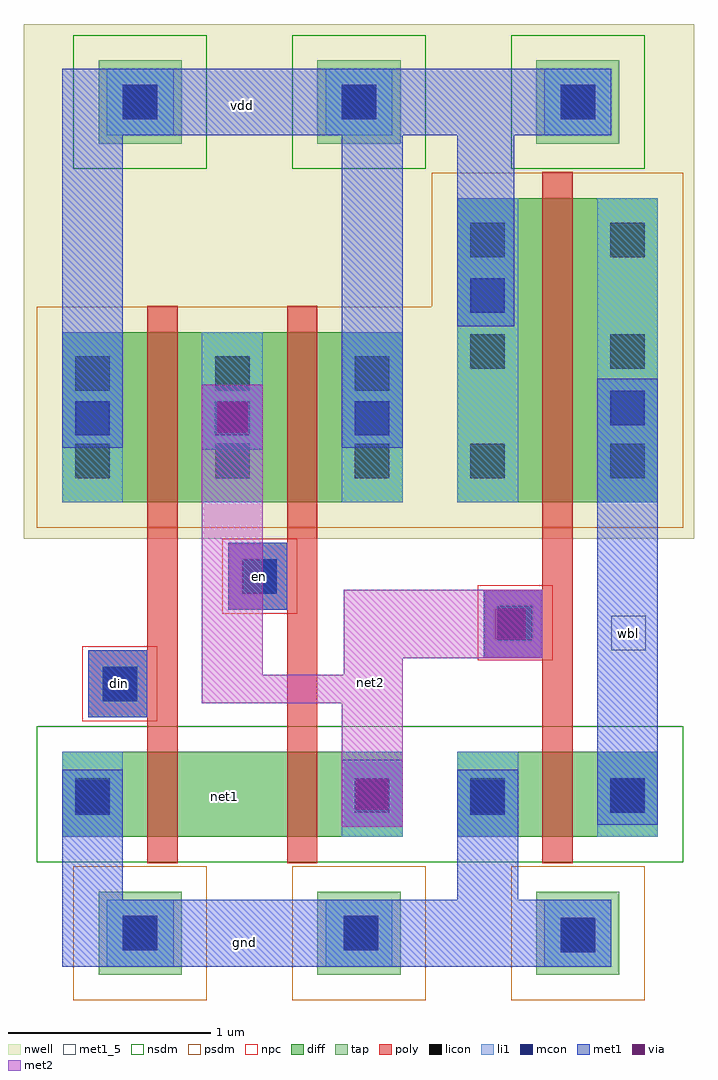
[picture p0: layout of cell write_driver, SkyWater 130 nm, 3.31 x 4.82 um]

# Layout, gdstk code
import gdstk
lib = gdstk.Library(unit=1e-6, precision=1e-09)
def R(c, l, rs):  # rectangles x0, y0, x1, y1
    for r in rs: c.add(gdstk.rectangle(r[:2], r[2:], *l))
def A(c, l, x, y, w, h, nx, ny, dx, dy):  # array of equal rectangles
    R(c, l, [(x+i*dx, y+j*dy, x+i*dx+w, y+j*dy+h) for i in range(nx) for j in range(ny)])
nwell = (64, 20)
diff = (65, 20)
tap = (65, 44)
poly = (66, 20)
licon = (66, 44)
li1 = (67, 20)
mcon = (67, 44)
met1_5 = (68, 5)
met1 = (68, 20)
via = (68, 44)
met2 = (69, 20)
nsdm = (93, 44)
psdm = (94, 20)
npc = (95, 20)

write_driver = lib.new_cell('write_driver')
R(write_driver, nwell, [(-0.23,-0.13,3.08,2.41)])
R(write_driver, diff, [(-0.04,-1.6,1.64,-1.18), (1.91,-1.6,2.9,-1.18), (-0.04,0.05,1.64,0.89), (1.91,0.05,2.9,1.55)])
A(write_driver, tap, 0.14, -2.28, 0.41, 0.41, 3, 2, 1.08, 4.1)
R(write_driver, poly, [(0.38,-1.73,0.53,-1.01), (1.07,-1.73,1.22,-0.48), (2.33,-1.73,2.48,-0.72), (0.09,-1.01,0.53,-0.68), (2.04,-0.72,2.48,-0.38), (0.38,-0.68,0.53,1.02), (0.78,-0.48,1.22,-0.15), (2.33,-0.38,2.48,1.68), (1.07,-0.15,1.22,1.02)])
A(write_driver, licon, 0.025, 0.17, 0.17, 0.17, 3, 2, 0.69, 0.43)
A(write_driver, licon, 0.26, 1.94, 0.17, 0.17, 3, 1, 1.08, 0)
R(write_driver, licon, [(2.42,-2.17,2.59,-2), (0.26,-2.16,0.43,-1.99), (1.35,-2.16,1.52,-1.99), (0.025,-1.48,0.195,-1.31), (1.405,-1.48,1.575,-1.31), (1.975,-1.48,2.145,-1.31), (2.665,-1.48,2.835,-1.31), (0.16,-0.93,0.33,-0.76), (2.11,-0.63,2.28,-0.46), (0.85,-0.4,1.02,-0.23), (1.975,0.17,2.145,0.34), (2.665,0.17,2.835,0.34), (1.975,0.71,2.145,0.88), (2.665,0.71,2.835,0.88), (1.975,1.26,2.145,1.43), (2.665,1.26,2.835,1.43)])
A(write_driver, li1, 0.18, -2.24, 0.33, 0.33, 3, 2, 1.08, 4.1)
A(write_driver, li1, -0.04, 0.05, 0.3, 0.84, 3, 1, 0.69, 0)
R(write_driver, li1, [(-0.04,-1.6,0.26,-1.18), (1.34,-1.6,1.64,-1.18), (1.91,-1.6,2.21,-1.18), (2.6,-1.6,2.9,-1.18), (0.09,-1.01,0.38,-0.68), (2.04,-0.72,2.33,-0.38), (0.78,-0.48,1.07,-0.15), (1.91,0.05,2.21,1.55), (2.6,0.05,2.9,1.55)])
A(write_driver, mcon, 0.025, 0.38, 0.17, 0.17, 3, 1, 0.69, 0)
A(write_driver, mcon, 0.26, 1.94, 0.17, 0.17, 3, 1, 1.08, 0)
R(write_driver, mcon, [(2.42,-2.17,2.59,-2), (0.26,-2.16,0.43,-1.99), (1.35,-2.16,1.52,-1.99), (0.025,-1.49,0.195,-1.32), (1.975,-1.49,2.145,-1.32), (1.405,-1.48,1.575,-1.31), (2.665,-1.48,2.835,-1.31), (0.16,-0.93,0.33,-0.76), (2.11,-0.63,2.28,-0.46), (0.85,-0.4,1.02,-0.23), (2.665,0.43,2.835,0.6), (1.975,0.985,2.145,1.155)])
R(write_driver, met1_5, [(0.16,-0.93,0.33,-0.76), (2.67,-0.68,2.84,-0.51), (0.85,-0.4,1.02,-0.23)])
R(write_driver, met1, [(-0.04,-2.24,2.67,-1.91), (-0.04,-1.91,0.26,-1.27), (1.91,-1.91,2.21,-1.27), (1.34,-1.55,1.64,-1.22), (2.6,-1.54,2.9,0.66), (0.09,-1.01,0.38,-0.68), (2.04,-0.72,2.33,-0.38), (0.78,-0.48,1.07,-0.15), (0.65,0.31,0.95,0.63), (-0.04,0.32,0.26,1.86), (1.34,0.32,1.64,1.86), (1.91,0.92,2.19,1.86), (-0.04,1.86,2.67,2.19)])
R(write_driver, via, [(1.415,-1.465,1.565,-1.315), (2.095,-0.625,2.245,-0.475), (0.725,0.395,0.875,0.545)])
R(write_driver, met2, [(1.34,-1.55,1.64,-0.94), (0.65,-0.94,1.64,-0.8), (0.65,-0.8,0.95,0.63), (1.35,-0.8,1.64,-0.72), (1.35,-0.72,2.33,-0.38)])
A(write_driver, nsdm, 0.015, 1.695, 0.66, 0.66, 3, 1, 1.08, 0)
R(write_driver, nsdm, [(-0.165,-1.725,3.025,-1.055)])
A(write_driver, psdm, 0.015, -2.405, 0.66, 0.66, 3, 1, 1.08, 0)
R(write_driver, psdm, [(-0.165,-0.075,3.025,1.015), (1.785,1.015,3.025,1.675)])
R(write_driver, npc, [(0.06,-1.03,0.43,-0.66), (2.01,-0.73,2.38,-0.36), (0.75,-0.5,1.12,-0.13)])
write_driver.add(gdstk.Label('vdd', (0.85,2.01), layer=68, texttype=16))
write_driver.add(gdstk.Label('net1', (0.76,-1.4), layer=65, texttype=20))
write_driver.add(gdstk.Label('net2', (1.48,-0.84), layer=69, texttype=16))
write_driver.add(gdstk.Label('gnd', (0.86,-2.12), layer=68, texttype=16))
write_driver.add(gdstk.Label('din', (0.245,-0.845), layer=68, texttype=5))
write_driver.add(gdstk.Label('en', (0.935,-0.315), layer=68, texttype=5))
write_driver.add(gdstk.Label('wbl', (2.755,-0.595), layer=68, texttype=5))

lib.write_gds('write_driver.gds')
